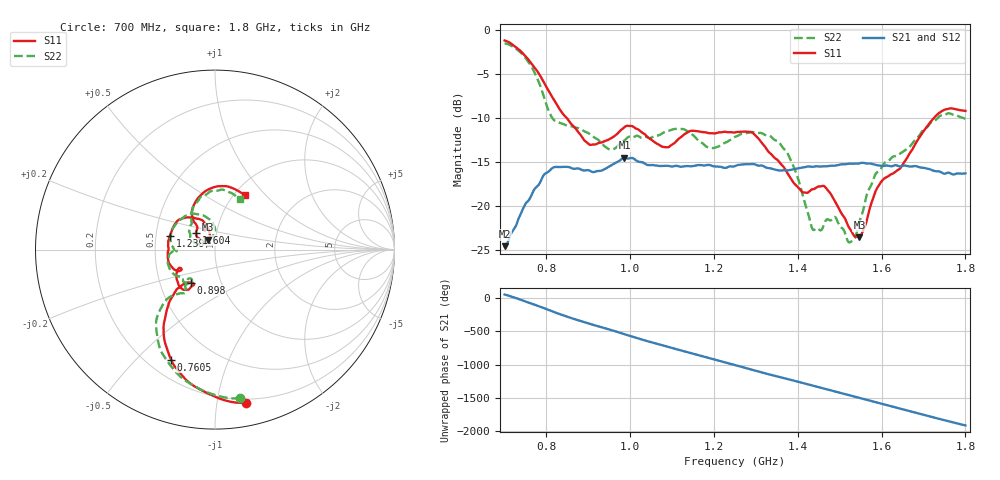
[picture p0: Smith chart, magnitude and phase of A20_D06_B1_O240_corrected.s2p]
! Created with skrf 1.9.0 (http://scikit-rf.org).
# Hz S RI R 50.0
!freq ReS11 ImS11 ReS21 ImS21 ReS12 ImS12 ReS22 ImS22
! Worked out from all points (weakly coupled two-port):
!   1601 points, 700 MHz to 1.8 GHz, reference 50 ohm
!   highest |S21| = -14.52 dB at 986 MHz (marker M1); lowest = -24.6 dB at 700 MHz (marker M2)
!   lowest |S11| = -23.6 dB at 1.547 GHz (marker M3), VSWR 1.14, Z = 46.1 + j5.05 ohm
!   |S11| at or under -10 dB: 848.5 MHz to 1.725 GHz (876.3 MHz wide, 68.1 % of centre)
!   |S22| runs from -24.1 to -1.5 dB; largest |S21 - S12| = 0.0034
!   S11 on the Smith chart (normalised r, x): 700 MHz: 0.17, -1.21; 760.5 MHz: 0.29, -0.64; 898 MHz: 0.72, -0.28; 1.239 GHz: 0.59, +0.10; 1.604 GHz: 0.80, +0.15; 1.8 GHz: 1.11, +0.77
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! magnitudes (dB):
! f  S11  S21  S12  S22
! 700 MHz  -1.2  -24.6  -24.3  -1.5
! 760.5 MHz  -3.6  -19.1  -19.0  -3.9
! 815.5 MHz  -7.8  -15.6  -15.7  -10.1
! 883.6 MHz  -12.1  -15.9  -15.8  -11.3
! 898 MHz  -12.8  -15.9  -16.0  -11.7
! 951.6 MHz  -12.4  -15.5  -15.5  -13.6
! 986 MHz  -11.0  -14.5  -14.6  -12.5
! 1.067 GHz  -13.0  -15.4  -15.4  -12.0
! 1.239 GHz  -11.6  -15.5  -15.6  -12.5
! 1.25 GHz  -11.6  -15.5  -15.4  -12.2
! 1.292 GHz  -11.7  -15.2  -15.2  -11.6
! 1.357 GHz  -15.0  -16.0  -15.9  -12.8
! 1.394 GHz  -17.6  -15.8  -15.8  -15.9
! 1.434 GHz  -18.1  -15.5  -15.5  -22.5
! 1.489 GHz  -19.5  -15.4  -15.4  -21.2
! 1.525 GHz  -22.6  -15.2  -15.2  -24.1
! 1.547 GHz  -23.6  -15.1  -15.1  -21.8
! 1.569 GHz  -20.7  -15.2  -15.2  -18.1
! 1.604 GHz  -17.0  -15.4  -15.4  -15.2
! 1.617 GHz  -16.6  -15.4  -15.4  -14.9
! 1.735 GHz  -9.5  -16.0  -16.1  -10.0
! 1.8 GHz  -9.2  -16.3  -16.3  -10.1
